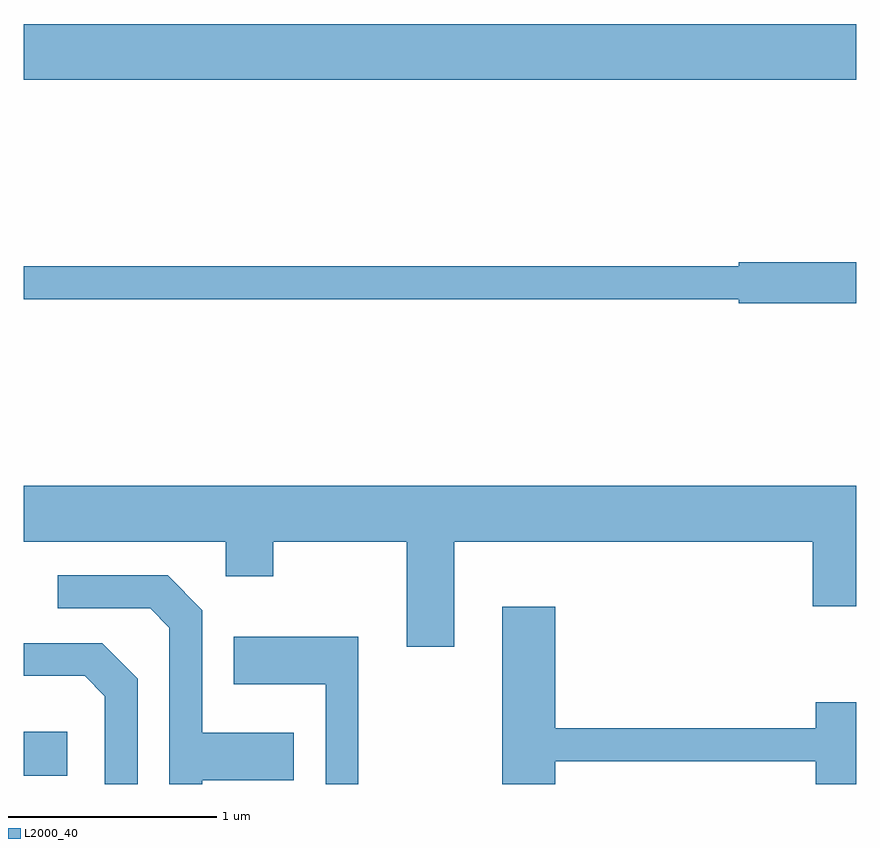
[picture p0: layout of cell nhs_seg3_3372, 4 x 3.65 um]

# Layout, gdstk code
import gdstk
lib = gdstk.Library(unit=1e-6, precision=1e-09)
def R(c, l, rs):  # rectangles x0, y0, x1, y1
    for r in rs: c.add(gdstk.rectangle(r[:2], r[2:], *l))
def P(c, l, *ps):  # polygons
    for p in ps: c.add(gdstk.Polygon(p, *l))
L2000_40 = (2000, 40)

nhs_seg3_3372 = lib.new_cell('nhs_seg3_3372')
R(nhs_seg3_3372, L2000_40, [(283.611,1195.931,283.819,1196.144), (283.611,1199.276,287.611,1199.544)])
P(nhs_seg3_3372, L2000_40, [(287.611,1198.399),(287.046,1198.399),(287.046,1198.379),(283.611,1198.379),(283.611,1198.221),(287.046,1198.221),(287.046,1198.201),(287.611,1198.201)],
  [(285.679,1197.056),(287.401,1197.056),(287.401,1196.746),(287.611,1196.746),(287.611,1197.324),(283.611,1197.324),(283.611,1197.056),(284.581,1197.056),(284.581,1196.891),(284.809,1196.891),(284.809,1197.056),(285.451,1197.056),(285.451,1196.551),(285.679,1196.551)],
  [(284.469,1195.911),(284.909,1195.911),(284.909,1196.139),(284.469,1196.139),(284.469,1196.727),(284.302,1196.894),(283.773,1196.894),(283.773,1196.736),(284.219,1196.736),(284.311,1196.644),(284.311,1195.892),(284.469,1195.892)],
  [(286.164,1196.001),(287.416,1196.001),(287.416,1195.892),(287.611,1195.892),(287.611,1196.284),(287.416,1196.284),(287.416,1196.159),(286.164,1196.159),(286.164,1196.744),(285.911,1196.744),(285.911,1195.892),(286.164,1195.892)],
  [(285.219,1196.599),(284.621,1196.599),(284.621,1196.371),(285.061,1196.371),(285.061,1195.892),(285.219,1195.892)],
  [(284.159,1196.397),(283.987,1196.569),(283.611,1196.569),(283.611,1196.411),(283.904,1196.411),(284.001,1196.314),(284.001,1195.892),(284.159,1195.892)])

lib.write_gds('nhs_seg3_3372.gds')
